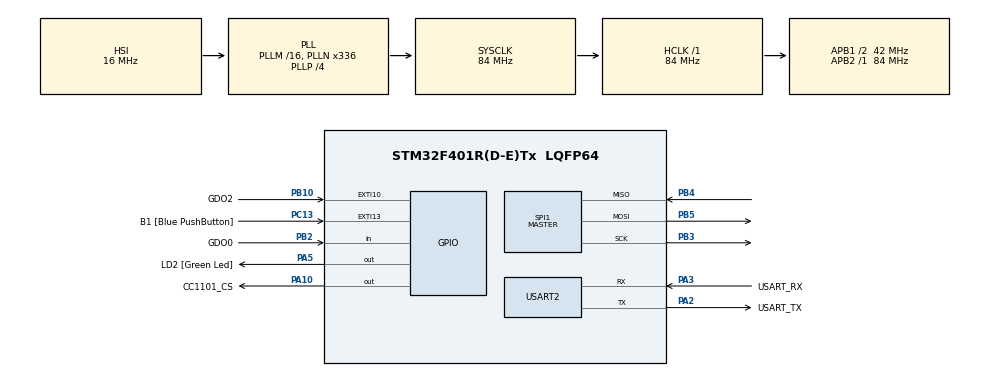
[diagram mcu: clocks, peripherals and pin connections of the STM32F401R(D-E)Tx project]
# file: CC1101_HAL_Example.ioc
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Mcu.Family=STM32F4
Mcu.Name=STM32F401R(D-E)Tx
Mcu.Package=LQFP64
NVIC.EXTI15_10_IRQn=true\:0\:0\:false\:false\:true\:true\:true
NVIC.PriorityGroup=NVIC_PRIORITYGROUP_0
NVIC.USART2_IRQn=true\:0\:0\:false\:false\:true\:true\:true
PA10.GPIO_Label=CC1101_CS
PA10.PinState=GPIO_PIN_SET
PA10.Signal=GPIO_Output
PA13.GPIO_Label=TMS
PA13.Mode=Serial_Wire
PA13.Signal=SYS_JTMS-SWDIO
PA14.GPIO_Label=TCK
PA14.Mode=Serial_Wire
PA14.Signal=SYS_JTCK-SWCLK
PA2.GPIO_Label=USART_TX
PA2.GPIO_Mode=GPIO_MODE_AF_PP
PA2.GPIO_PuPd=GPIO_NOPULL
PA2.GPIO_Speed=GPIO_SPEED_FREQ_LOW
PA2.Mode=Asynchronous
PA2.Signal=USART2_TX
PA3.GPIO_Label=USART_RX
PA3.GPIO_Mode=GPIO_MODE_AF_PP
PA3.GPIO_PuPd=GPIO_NOPULL
PA3.GPIO_Speed=GPIO_SPEED_FREQ_LOW
PA3.Mode=Asynchronous
PA3.Signal=USART2_RX
PA5.GPIO_Label=LD2 [Green Led]
PA5.GPIO_Mode=GPIO_MODE_OUTPUT_PP
PA5.GPIO_PuPd=GPIO_NOPULL
PA5.GPIO_Speed=GPIO_SPEED_FREQ_LOW
PA5.Signal=GPIO_Output
PB10.GPIO_Label=GDO2
PB10.GPIO_ModeDefaultEXTI=GPIO_MODE_IT_RISING
PB10.Signal=GPXTI10
PB2.GPIO_Label=GDO0
PB2.Signal=GPIO_Input
PB3.Mode=Full_Duplex_Master
PB3.Signal=SPI1_SCK
PB4.Mode=Full_Duplex_Master
PB4.Signal=SPI1_MISO
PB5.Mode=Full_Duplex_Master
PB5.Signal=SPI1_MOSI
PC13-ANTI_TAMP.GPIO_Label=B1 [Blue PushButton]
PC13-ANTI_TAMP.GPIO_ModeDefaultEXTI=GPIO_MODE_IT_FALLING
PC13-ANTI_TAMP.GPIO_PuPd=GPIO_NOPULL
PC13-ANTI_TAMP.Signal=GPXTI13
PC14-OSC32_IN.Mode=LSE-External-Oscillator
PC14-OSC32_IN.Signal=RCC_OSC32_IN
PC15-OSC32_OUT.Mode=LSE-External-Oscillator
PC15-OSC32_OUT.Signal=RCC_OSC32_OUT
PH0\ -\ OSC_IN.Mode=HSE-External-Clock-Source
PH0\ -\ OSC_IN.Signal=RCC_OSC_IN
PH1\ -\ OSC_OUT.Mode=HSE-External-Clock-Source
PH1\ -\ OSC_OUT.Signal=RCC_OSC_OUT
ProjectManager.HeapSize=0x200
ProjectManager.StackSize=0x400
ProjectManager.TargetToolchain=STM32CubeIDE
RCC.48MHZClocksFreq_Value=48000000
RCC.AHBFreq_Value=84000000
RCC.APB1CLKDivider=RCC_HCLK_DIV2
RCC.APB1Freq_Value=42000000
RCC.APB1TimFreq_Value=84000000
RCC.APB2Freq_Value=84000000
RCC.APB2TimFreq_Value=84000000
RCC.CortexFreq_Value=84000000
RCC.HCLKFreq_Value=84000000
RCC.HSE_VALUE=8000000
RCC.HSI_VALUE=16000000
RCC.PLLN=336
RCC.PLLP=RCC_PLLP_DIV4
RCC.PLLQ=7
RCC.SYSCLKFreq_VALUE=84000000
RCC.SYSCLKSource=RCC_SYSCLKSOURCE_PLLCLK
RCC.VCOOutputFreq_Value=336000000
SPI1.BaudRatePrescaler=SPI_BAUDRATEPRESCALER_32
SPI1.Direction=SPI_DIRECTION_2LINES
SPI1.Mode=SPI_MODE_MASTER
SPI1.VirtualType=VM_MASTER
USART2.VirtualMode=VM_ASYNC
board=NUCLEO-F401RE

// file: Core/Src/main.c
/* USER CODE BEGIN Header */
/**
  ******************************************************************************
  * @file           : main.c
  * @brief          : Main program body
  ******************************************************************************
  * @attention
  *
  * Copyright (c) 2022 STMicroelectronics.
  * All rights reserved.
  *
  * This software is licensed under terms that can be found in the LICENSE file
  * in the root directory of this software component.
  * If no LICENSE file comes with this software, it is provided AS-IS.
  *
  ******************************************************************************
  */
/* USER CODE END Header */
#include "main.h"

/* USER CODE BEGIN Includes */
#include "CC1101/CC1101.h"
/* USER CODE END Includes */

SPI_HandleTypeDef hspi1;

UART_HandleTypeDef huart2;

void SystemClock_Config(void);
static void MX_GPIO_Init(void);
static void MX_USART2_UART_Init(void);
static void MX_SPI1_Init(void);

/* USER CODE BEGIN 0 */
uint8_t rxData[64];
uint8_t txData[64];

void HAL_GPIO_EXTI_Callback(uint16_t GPIO_Pin)
{
	if(GPIO_Pin == GDO2_Pin)
	{
		uint8_t RSSI, LQI;
		HAL_GPIO_TogglePin(LD2_GPIO_Port, LD2_Pin);
		uint8_t rxLength = CC1101_ReadPacket(rxData, &RSSI, &LQI);
		HAL_UART_Transmit_IT(&huart2, rxData, rxLength-1);

	}

}
uint8_t HAL_UART_ReceiveString(UART_HandleTypeDef *huart, uint8_t *pData, uint32_t tSilent, uint32_t Timeout)
{
	uint8_t i = 0;
	if(HAL_UART_Receive(huart, &pData[i++], 1, Timeout-tSilent) == HAL_TIMEOUT)
		return 0;
	else
	{
		while(HAL_UART_Receive(huart, &pData[i++], 1, tSilent)!= HAL_TIMEOUT);
		return i;
	}

}

/* USER CODE END 0 */

int main(void)
{

  /* MCU Configuration--------------------------------------------------------*/

  /* Reset of all peripherals, Initializes the Flash interface and the Systick. */
  HAL_Init();

  /* Configure the system clock */
  SystemClock_Config();

  /* Initialize all configured peripherals */
  MX_GPIO_Init();
  MX_USART2_UART_Init();
  MX_SPI1_Init();
  /* USER CODE BEGIN 2 */

  CC1101_GPIO_Prepare();
  CC1101_Init();
  CC1101_GoToWOR();
  /* USER CODE END 2 */

  /* Infinite loop */
  /* USER CODE BEGIN WHILE */
  while (1)
  {
	  /*CC1101_GoToRX();
	  uint8_t txLength = HAL_UART_ReceiveString(&huart2, txData, 100, HAL_MAX_DELAY);
	  CC1101_TransmitPacket(txData, txLength);
	  HAL_GPIO_TogglePin(LD2_GPIO_Port, LD2_Pin);
	  HAL_Delay(10);*/

    /* USER CODE END WHILE */

  }
}

void SystemClock_Config(void)
{
  RCC_OscInitTypeDef RCC_OscInitStruct = {0};
  RCC_ClkInitTypeDef RCC_ClkInitStruct = {0};

  /** Configure the main internal regulator output voltage
  */
  __HAL_RCC_PWR_CLK_ENABLE();
  __HAL_PWR_VOLTAGESCALING_CONFIG(PWR_REGULATOR_VOLTAGE_SCALE2);
  /** Initializes the RCC Oscillators according to the specified parameters
  * in the RCC_OscInitTypeDef structure.
  */
  RCC_OscInitStruct.OscillatorType = RCC_OSCILLATORTYPE_HSI;
  RCC_OscInitStruct.HSIState = RCC_HSI_ON;
  RCC_OscInitStruct.HSICalibrationValue = RCC_HSICALIBRATION_DEFAULT;
  RCC_OscInitStruct.PLL.PLLState = RCC_PLL_ON;
  RCC_OscInitStruct.PLL.PLLSource = RCC_PLLSOURCE_HSI;
  RCC_OscInitStruct.PLL.PLLM = 16;
  RCC_OscInitStruct.PLL.PLLN = 336;
  RCC_OscInitStruct.PLL.PLLP = RCC_PLLP_DIV4;
  RCC_OscInitStruct.PLL.PLLQ = 7;
  if (HAL_RCC_OscConfig(&RCC_OscInitStruct) != HAL_OK)
  {
    Error_Handler();
  }
  /** Initializes the CPU, AHB and APB buses clocks
  */
  RCC_ClkInitStruct.ClockType = RCC_CLOCKTYPE_HCLK|RCC_CLOCKTYPE_SYSCLK
                              |RCC_CLOCKTYPE_PCLK1|RCC_CLOCKTYPE_PCLK2;
  RCC_ClkInitStruct.SYSCLKSource = RCC_SYSCLKSOURCE_PLLCLK;
  RCC_ClkInitStruct.AHBCLKDivider = RCC_SYSCLK_DIV1;
  RCC_ClkInitStruct.APB1CLKDivider = RCC_HCLK_DIV2;
  RCC_ClkInitStruct.APB2CLKDivider = RCC_HCLK_DIV1;

  if (HAL_RCC_ClockConfig(&RCC_ClkInitStruct, FLASH_LATENCY_2) != HAL_OK)
  {
    Error_Handler();
  }
}

static void MX_SPI1_Init(void)
{

  /* SPI1 parameter configuration*/
  hspi1.Instance = SPI1;
  hspi1.Init.Mode = SPI_MODE_MASTER;
  hspi1.Init.Direction = SPI_DIRECTION_2LINES;
  hspi1.Init.DataSize = SPI_DATASIZE_8BIT;
  hspi1.Init.CLKPolarity = SPI_POLARITY_LOW;
  hspi1.Init.CLKPhase = SPI_PHASE_1EDGE;
  hspi1.Init.NSS = SPI_NSS_SOFT;
  hspi1.Init.BaudRatePrescaler = SPI_BAUDRATEPRESCALER_32;
  hspi1.Init.FirstBit = SPI_FIRSTBIT_MSB;
  hspi1.Init.TIMode = SPI_TIMODE_DISABLE;
  hspi1.Init.CRCCalculation = SPI_CRCCALCULATION_DISABLE;
  hspi1.Init.CRCPolynomial = 10;
  if (HAL_SPI_Init(&hspi1) != HAL_OK)
  {
    Error_Handler();
  }

}

static void MX_USART2_UART_Init(void)
{

  huart2.Instance = USART2;
  huart2.Init.BaudRate = 115200;
  huart2.Init.WordLength = UART_WORDLENGTH_8B;
  huart2.Init.StopBits = UART_STOPBITS_1;
  huart2.Init.Parity = UART_PARITY_NONE;
  huart2.Init.Mode = UART_MODE_TX_RX;
  huart2.Init.HwFlowCtl = UART_HWCONTROL_NONE;
  huart2.Init.OverSampling = UART_OVERSAMPLING_16;
  if (HAL_UART_Init(&huart2) != HAL_OK)
  {
    Error_Handler();
  }

}

static void MX_GPIO_Init(void)
{
  GPIO_InitTypeDef GPIO_InitStruct = {0};

  /* GPIO Ports Clock Enable */
  __HAL_RCC_GPIOC_CLK_ENABLE();
  __HAL_RCC_GPIOH_CLK_ENABLE();
  __HAL_RCC_GPIOA_CLK_ENABLE();
  __HAL_RCC_GPIOB_CLK_ENABLE();

  /*Configure GPIO pin Output Level */
  HAL_GPIO_WritePin(LD2_GPIO_Port, LD2_Pin, GPIO_PIN_RESET);

  /*Configure GPIO pin Output Level */
  HAL_GPIO_WritePin(CC1101_CS_GPIO_Port, CC1101_CS_Pin, GPIO_PIN_SET);

  /*Configure GPIO pin : B1_Pin */
  GPIO_InitStruct.Pin = B1_Pin;
  GPIO_InitStruct.Mode = GPIO_MODE_IT_FALLING;
  GPIO_InitStruct.Pull = GPIO_NOPULL;
  HAL_GPIO_Init(B1_GPIO_Port, &GPIO_InitStruct);

  /*Configure GPIO pins : LD2_Pin CC1101_CS_Pin */
  GPIO_InitStruct.Pin = LD2_Pin|CC1101_CS_Pin;
  GPIO_InitStruct.Mode = GPIO_MODE_OUTPUT_PP;
  GPIO_InitStruct.Pull = GPIO_NOPULL;
  GPIO_InitStruct.Speed = GPIO_SPEED_FREQ_LOW;
  HAL_GPIO_Init(GPIOA, &GPIO_InitStruct);

  /*Configure GPIO pin : GDO0_Pin */
  GPIO_InitStruct.Pin = GDO0_Pin;
  GPIO_InitStruct.Mode = GPIO_MODE_INPUT;
  GPIO_InitStruct.Pull = GPIO_NOPULL;
  HAL_GPIO_Init(GDO0_GPIO_Port, &GPIO_InitStruct);

  /*Configure GPIO pin : GDO2_Pin */
  GPIO_InitStruct.Pin = GDO2_Pin;
  GPIO_InitStruct.Mode = GPIO_MODE_IT_RISING;
  GPIO_InitStruct.Pull = GPIO_NOPULL;
  HAL_GPIO_Init(GDO2_GPIO_Port, &GPIO_InitStruct);

  /* EXTI interrupt init*/
  HAL_NVIC_SetPriority(EXTI15_10_IRQn, 0, 0);
  HAL_NVIC_EnableIRQ(EXTI15_10_IRQn);

}

void Error_Handler(void)
{
  __disable_irq();
  while (1)
  {
  }
}
